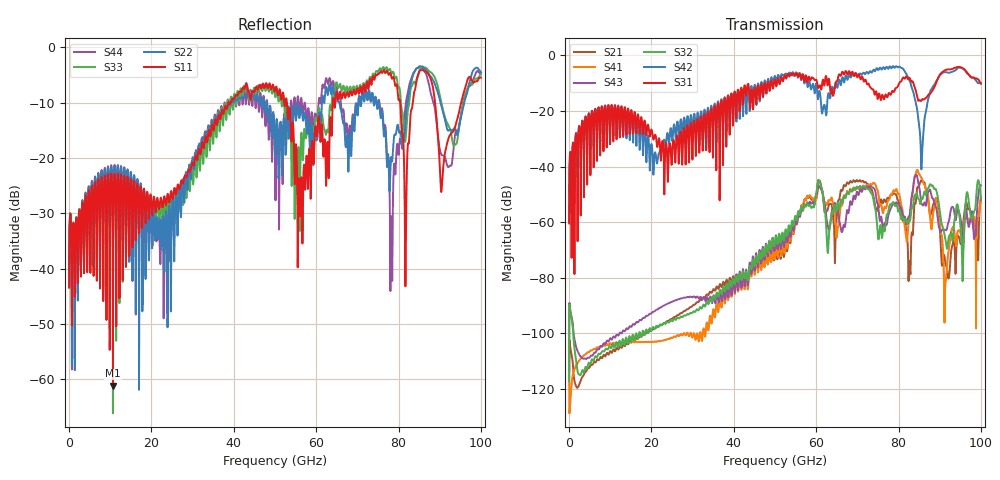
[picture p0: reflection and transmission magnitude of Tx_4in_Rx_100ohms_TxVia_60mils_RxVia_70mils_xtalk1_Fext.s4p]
! Info: Touchstone file created by Circ.  Input file=Tx_4in_Rx_100ohms_TxVia_60mils_RxVia_70mils.circ
# Hz S RI R 50
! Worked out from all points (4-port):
!   10000 points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, 10 MHz to 100 GHz, reference 50 ohm
!   strongest paths, dB at 10 MHz, 25.01 GHz, 50.01 GHz, 75.01 GHz, 100 GHz:
!     S31: -60.5, -36.4, -8.7, -15.4, -10.2
!     S42: -60.0, -30.2, -7.4, -5.2, -10.1
!     S32: -117.2, -95.6, -66.9, -64.9, -51.9
!     S43: -113.2, -88.6, -68.2, -53.7, -46.8
!     S41: -104.5, -101.7, -71.7, -48.9, -51.6
!     S21: -107.1, -94.8, -71.7, -54.4, -51.1
!   lowest |S11| = -61.2 dB at 10.66 GHz (marker M1), VSWR 1.00, Z = 50.1 - j0.0326 ohm
!   |S11| at or under -10 dB: start of sweep to 38.69 GHz; 52.89 GHz to 64.04 GHz (11.15 GHz wide, 19.1 % of centre); 88.87 GHz to 95.21 GHz (6.337 GHz wide, 6.89 % of centre)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
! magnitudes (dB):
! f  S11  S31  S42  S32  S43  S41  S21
! 10 MHz  -43.4  -60.5  -60.0  -117.2  -113.2  -104.5  -107.1
! 10.66 GHz  -61.2  -26.7  -25.7  -103.9  -101.4  -103.4  -106.0
! 78.27 GHz  -5.4  -13.6  -4.7  -53.7  -54.6  -50.0  -50.0
! 82.61 GHz  -16.3  -8.1  -9.0  -59.5  -57.9  -59.0  -74.1
! 85.61 GHz  -4.1  -16.1  -39.4  -51.4  -53.4  -44.1  -45.0
! 91.39 GHz  -18.7  -5.3  -6.1  -66.1  -62.8  -81.9  -75.0
! 100 GHz  -5.5  -10.2  -10.1  -51.9  -46.8  -51.6  -51.1
